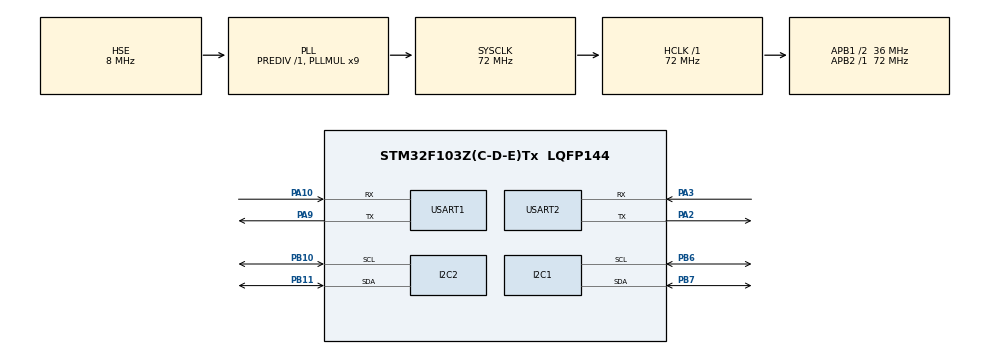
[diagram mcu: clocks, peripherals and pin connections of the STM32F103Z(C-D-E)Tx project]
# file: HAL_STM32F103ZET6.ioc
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Dma.Request0=USART2_RX
Dma.USART2_RX.0.Direction=DMA_PERIPH_TO_MEMORY
Dma.USART2_RX.0.Instance=DMA1_Channel6
Dma.USART2_RX.0.MemDataAlignment=DMA_MDATAALIGN_BYTE
Dma.USART2_RX.0.MemInc=DMA_MINC_ENABLE
Dma.USART2_RX.0.Mode=DMA_NORMAL
Dma.USART2_RX.0.PeriphDataAlignment=DMA_PDATAALIGN_BYTE
Dma.USART2_RX.0.PeriphInc=DMA_PINC_DISABLE
Dma.USART2_RX.0.Priority=DMA_PRIORITY_LOW
Mcu.Family=STM32F1
Mcu.Name=STM32F103Z(C-D-E)Tx
Mcu.Package=LQFP144
NVIC.DMA1_Channel6_IRQn=true\:0\:0\:false\:false\:true\:false\:true\:true
NVIC.PriorityGroup=NVIC_PRIORITYGROUP_4
NVIC.USART1_IRQn=true\:0\:0\:false\:false\:true\:true\:true\:true
NVIC.USART2_IRQn=true\:0\:0\:false\:false\:true\:true\:true\:true
OSC_IN.Mode=HSE-External-Oscillator
OSC_IN.Signal=RCC_OSC_IN
OSC_OUT.Mode=HSE-External-Oscillator
OSC_OUT.Signal=RCC_OSC_OUT
PA10.Mode=Asynchronous
PA10.Signal=USART1_RX
PA13.Mode=Serial_Wire
PA13.Signal=SYS_JTMS-SWDIO
PA14.Mode=Serial_Wire
PA14.Signal=SYS_JTCK-SWCLK
PA2.Mode=Asynchronous
PA2.Signal=USART2_TX
PA3.Mode=Asynchronous
PA3.Signal=USART2_RX
PA9.Mode=Asynchronous
PA9.Signal=USART1_TX
PB10.Mode=I2C
PB10.Signal=I2C2_SCL
PB11.Mode=I2C
PB11.Signal=I2C2_SDA
PB6.Mode=I2C
PB6.Signal=I2C1_SCL
PB7.Mode=I2C
PB7.Signal=I2C1_SDA
PC14-OSC32_IN.Mode=LSE-External-Oscillator
PC14-OSC32_IN.Signal=RCC_OSC32_IN
PC15-OSC32_OUT.Mode=LSE-External-Oscillator
PC15-OSC32_OUT.Signal=RCC_OSC32_OUT
ProjectManager.HeapSize=0x200
ProjectManager.StackSize=0x400
ProjectManager.TargetToolchain=SW4STM32
RCC.AHBFreq_Value=72000000
RCC.APB1CLKDivider=RCC_HCLK_DIV2
RCC.APB1Freq_Value=36000000
RCC.APB1TimFreq_Value=72000000
RCC.APB2Freq_Value=72000000
RCC.APB2TimFreq_Value=72000000
RCC.HCLKFreq_Value=72000000
RCC.PLLMUL=RCC_PLL_MUL9
RCC.PLLSourceVirtual=RCC_PLLSOURCE_HSE
RCC.SYSCLKFreq_VALUE=72000000
RCC.SYSCLKSource=RCC_SYSCLKSOURCE_PLLCLK
RCC.USBFreq_Value=72000000
TIM1.Prescaler=71
TIM2.Prescaler=71
USART1.VirtualMode=VM_ASYNC
USART2.VirtualMode=VM_ASYNC
VP_RTC_VS_RTC_Activate.Mode=RTC_Enabled
VP_TIM1_VS_ClockSourceINT.Mode=Internal
VP_TIM2_VS_ClockSourceINT.Mode=Internal
board=custom

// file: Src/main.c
/* USER CODE BEGIN Header */
/**
  ******************************************************************************
  * @file           : main.c
  * @brief          : Main program body
  ******************************************************************************
  * @attention
  *
  * Copyright (c) 2024 STMicroelectronics.
  * All rights reserved.
  *
  * This software is licensed under terms that can be found in the LICENSE file
  * in the root directory of this software component.
  * If no LICENSE file comes with this software, it is provided AS-IS.
  *
  ******************************************************************************
  */
/* USER CODE END Header */
#include "main.h"
#include "dma.h"
#include "i2c.h"
#include "rtc.h"
#include "tim.h"
#include "usart.h"
#include "gpio.h"

/* USER CODE BEGIN Includes */
#include "dht11.h"
#include "bh1750.h"
#include "sgp30.h"
#include "stdio.h"
#include "oled.h"
#include "oledfont.h"
#include "string.h"
#include "stdlib.h"
#include "esp8266.h"
#include "aliyun.h"
/* USER CODE END Includes */

void SystemClock_Config(void);

int main(void)
{
  /* USER CODE BEGIN 1 */
    uint8_t tempH, tempL;
    uint8_t humH, humL;
    uint32_t CO2Data, TVOCData;
    uint32_t SGP30Data;
    uint8_t light;
    char *str = NULL;
    uint8_t msgBuf[1024];
    uint8_t paramsBuf[1024];
    uint8_t dataValueBuf[24];
  /* USER CODE END 1 */

  /* MCU Configuration--------------------------------------------------------*/

  /* Reset of all peripherals, Initializes the Flash interface and the Systick. */
  HAL_Init();

  /* Configure the system clock */
  SystemClock_Config();

  /* Initialize all configured peripherals */
  MX_GPIO_Init();
  MX_DMA_Init();
  MX_RTC_Init();
  MX_TIM1_Init();
  MX_TIM2_Init();
  MX_USART1_UART_Init();
  MX_USART2_UART_Init();
  MX_I2C1_Init();
  MX_I2C2_Init();
  /* USER CODE BEGIN 2 */
  ESP8266_Init();
  Ali_Yun_Init();
    OLED_Init();
    OLED_Clear();
    DHT11_Init();
    Init_BH1750();
    SGP30_Init();
    HAL_Delay(100);
    SGP30_Write(0x20,0x08);
    SGP30Data=SGP30_Read();
    CO2Data=(SGP30Data&0xffff0000)>>16;
    TVOCData=SGP30Data&0x0000ffff;
    while (CO2Data==400 &&TVOCData==0){
        SGP30_Write(0x20,0x08);
        SGP30Data=SGP30_Read();
        CO2Data=(SGP30Data&0xffff0000)>>16;
        TVOCData=SGP30Data&0x0000ffff;
        printf("检测中....\r\n");
        HAL_Delay(500);
    }
    OLED_ShowChinese(0, 0, TEMP, 0);//温
    OLED_ShowChinese(16, 0, TEMP, 1);//度
    OLED_ShowChinese(32, 0, MAO, 0);//:
    OLED_ShowChinese(82, 0, C, 0);//℃
    OLED_ShowChinese(0, 2, HUM, 0);//湿
    OLED_ShowChinese(16, 2, HUM, 0);//度
    OLED_ShowChinese(32, 2, MAO, 0);//:
    OLED_ShowString(82, 2, "%", 16);
    OLED_ShowChinese(0, 4, LIGHT, 0);//光
    OLED_ShowChinese(16, 4, LIGHT, 1);//照
    OLED_ShowChinese(32, 4, LIGHT, 2);//强
    OLED_ShowChinese(48, 4, LIGHT, 3);//度
    OLED_ShowChinese(64, 4, MAO, 0);//:
    OLED_ShowString(112, 4, "lx", 16);
//    OLED_ShowChinese(0, 6, AIR, 0);//
//    OLED_ShowChinese(16, 6, AIR, 1);//
    OLED_ShowString(0,6,"CO2",16);
    OLED_ShowChinese(26, 6, AIR, 0);//浓
    OLED_ShowChinese(42, 6, AIR, 1);//度
    OLED_ShowChinese(58, 6, MAO, 0);//:
    OLED_ShowString(100, 6, "ppd", 16);
  /* USER CODE END 2 */

  /* Infinite loop */
  /* USER CODE BEGIN WHILE */
  while (1)
  {
      SGP30_Write(0x20,0x08);
      SGP30Data=SGP30_Read();
      CO2Data=(SGP30Data&0xffff0000)>>16;
      TVOCData=SGP30Data&0x0000ffff;
      DHT11_Read_Data(&humH,&humL,&tempH,&tempL);
      light=Value_GY30();
      printf("Temp:%d.%d\r\n,Hum:%d.%d\r\n",tempH,tempL,humH,humL);
      printf("Light:%d lx\r\n,CO2:%d ppd\r\n",light,CO2Data);

      OLED_ShowNum(48,0,tempH,2,16);//温度
      OLED_ShowChar(64,0,'.',16);
      OLED_ShowNum(66,0,tempL,2,16);

      OLED_ShowNum(48,2,humH,2,16);//湿度
      OLED_ShowChar(64,2,'.',16);
      OLED_ShowNum(66,2,humL,2,16);

      OLED_ShowNum(80,4,Value_GY30(),3,16);//光照强度
      OLED_ShowNum(74,6,CO2Data,3,16);//CO2
              snprintf((char *)msgBuf, sizeof(msgBuf), "AT+MQTTPUB=0,\"/sys/k0osgjHSO5X/SmartAgriculture/thing/event/property/post\",\"{params:{\\\"temp\\\":%d\\,\\\"hum\\\":%d\\,\\\"light\\\":%d\\,\\\"air\\\":%d\\}}\",0,0\r\n", tempH,humH,light,CO2Data);
        ESP8266_SendCmd(msgBuf,"OK");
        memset(msgBuf,0, sizeof(msgBuf));
        if (ESP8266_SendCmd(msgBuf,"ERROR")){
            ESP8266_Init();
            Ali_Yun_Init();
            memset(msgBuf,0, sizeof(msgBuf));
        }
      HAL_Delay(500);
    /* USER CODE END WHILE */

  }
}

void SystemClock_Config(void)
{
  RCC_OscInitTypeDef RCC_OscInitStruct = {0};
  RCC_ClkInitTypeDef RCC_ClkInitStruct = {0};
  RCC_PeriphCLKInitTypeDef PeriphClkInit = {0};

  /** Initializes the RCC Oscillators according to the specified parameters
  * in the RCC_OscInitTypeDef structure.
  */
  RCC_OscInitStruct.OscillatorType = RCC_OSCILLATORTYPE_LSI|RCC_OSCILLATORTYPE_HSE;
  RCC_OscInitStruct.HSEState = RCC_HSE_ON;
  RCC_OscInitStruct.HSEPredivValue = RCC_HSE_PREDIV_DIV1;
  RCC_OscInitStruct.HSIState = RCC_HSI_ON;
  RCC_OscInitStruct.LSIState = RCC_LSI_ON;
  RCC_OscInitStruct.PLL.PLLState = RCC_PLL_ON;
  RCC_OscInitStruct.PLL.PLLSource = RCC_PLLSOURCE_HSE;
  RCC_OscInitStruct.PLL.PLLMUL = RCC_PLL_MUL9;
  if (HAL_RCC_OscConfig(&RCC_OscInitStruct) != HAL_OK)
  {
    Error_Handler();
  }

  /** Initializes the CPU, AHB and APB buses clocks
  */
  RCC_ClkInitStruct.ClockType = RCC_CLOCKTYPE_HCLK|RCC_CLOCKTYPE_SYSCLK
                              |RCC_CLOCKTYPE_PCLK1|RCC_CLOCKTYPE_PCLK2;
  RCC_ClkInitStruct.SYSCLKSource = RCC_SYSCLKSOURCE_PLLCLK;
  RCC_ClkInitStruct.AHBCLKDivider = RCC_SYSCLK_DIV1;
  RCC_ClkInitStruct.APB1CLKDivider = RCC_HCLK_DIV2;
  RCC_ClkInitStruct.APB2CLKDivider = RCC_HCLK_DIV1;

  if (HAL_RCC_ClockConfig(&RCC_ClkInitStruct, FLASH_LATENCY_2) != HAL_OK)
  {
    Error_Handler();
  }
  PeriphClkInit.PeriphClockSelection = RCC_PERIPHCLK_RTC;
  PeriphClkInit.RTCClockSelection = RCC_RTCCLKSOURCE_LSI;
  if (HAL_RCCEx_PeriphCLKConfig(&PeriphClkInit) != HAL_OK)
  {
    Error_Handler();
  }
}

void Error_Handler(void)
{
  __disable_irq();
  while (1)
  {
  }
}
